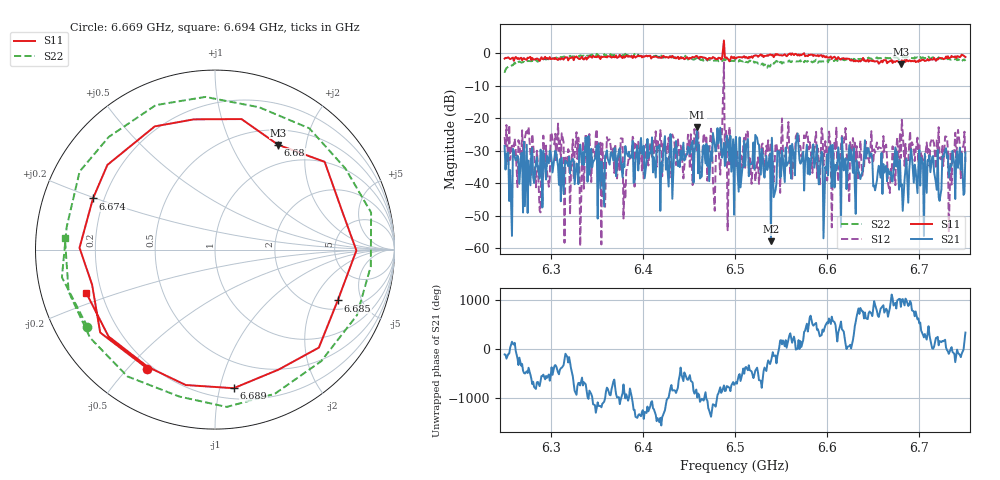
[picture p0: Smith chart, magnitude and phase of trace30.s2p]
# Hz S RI R 50
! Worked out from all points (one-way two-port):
!   401 points, 6.25 GHz to 6.75 GHz, reference 50 ohm
!   highest |S21| = -22.83 dB at 6.459 GHz (marker M1); lowest = -57.9 dB at 6.539 GHz (marker M2)
!   lowest |S11| = -3.3 dB at 6.68 GHz (marker M3), VSWR 5.28, Z = 35.2 + j76.8 ohm
!   |S11| at or under -10 dB: nowhere
!   |S22| runs from -6.0 to -0.1 dB; largest |S21 - S12| = 0.76
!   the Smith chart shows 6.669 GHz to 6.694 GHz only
!   S11 on the Smith chart (normalised r, x): 6.669 GHz: 0.18, -0.57; 6.674 GHz: 0.16, +0.20; 6.68 GHz: 0.70, +1.54; 6.685 GHz: 2.51, -3.14; 6.689 GHz: 0.28, -1.10; 6.694 GHz: 0.14, -0.16
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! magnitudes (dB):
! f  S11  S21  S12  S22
! 6.25 GHz  -1.6  -28.5  -25.8  -6.0
! 6.275 GHz  -1.3  -49.2  -24.6  -2.3
! 6.289 GHz  -1.8  -29.7  -49.0  -2.1
! 6.302 GHz  -1.5  -36.7  -26.7  -1.5
! 6.334 GHz  -1.0  -34.3  -33.8  -0.8
! 6.351 GHz  -0.8  -50.9  -31.7  -0.5
! 6.358 GHz  -1.0  -47.2  -41.5  -0.2
! 6.364 GHz  -1.0  -34.3  -26.5  -0.7
! 6.381 GHz  -1.1  -28.6  -44.9  -0.1
! 6.418 GHz  -1.3  -28.3  -29.9  -1.0
! 6.459 GHz  -0.9  -22.8  -30.4  -1.4
! 6.5 GHz  -1.4  -29.5  -27.8  -2.0
! 6.539 GHz  -0.4  -57.9  -27.8  -3.5
! 6.584 GHz  -0.4  -29.7  -36.9  -2.8
! 6.668 GHz  -2.4  -37.3  -43.0  -1.4
! 6.669 GHz  -2.4  -36.6  -35.6  -1.6
! 6.674 GHz  -2.6  -29.0  -40.6  -1.3
! 6.68 GHz  -3.3  -41.0  -32.2  -1.4
! 6.685 GHz  -2.6  -35.6  -27.9  -1.3
! 6.689 GHz  -2.2  -36.2  -28.1  -1.5
! 6.694 GHz  -2.4  -39.8  -29.0  -1.5
! 6.75 GHz  -1.1  -30.5  -33.5  -2.3
